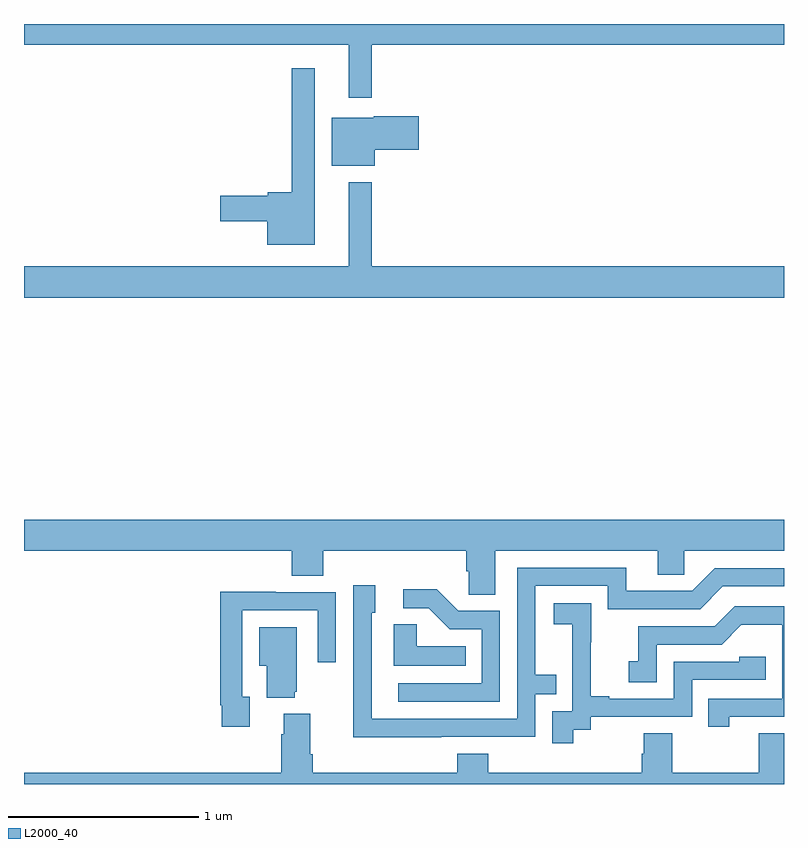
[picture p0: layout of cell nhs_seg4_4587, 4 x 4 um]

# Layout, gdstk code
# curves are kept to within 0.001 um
import gdstk
lib = gdstk.Library(unit=1e-6, precision=1e-09)
def P(c, l, *ps):  # polygons
    for p in ps: c.add(gdstk.Polygon(p, *l))
L2000_40 = (2000, 40)

nhs_seg4_4587 = lib.new_cell('nhs_seg4_4587')
P(nhs_seg4_4587, L2000_40, [(357,824.792),(358.709,824.792),(358.709,824.511),(358.831,824.511),(358.831,824.792),(361,824.792),(361,824.9),(357,824.9)],
  [(358.531,824.668),(358.41,824.668),(358.41,824.015),(358.284,824.015),(358.284,823.997),(358.032,823.997),(358.032,823.862),(358.28,823.862),(358.28,823.739),(358.531,823.739)],
  [(358.846,824.237),(359.077,824.237),(359.077,824.415),(358.842,824.415),(358.842,824.407),(358.619,824.407),(358.619,824.153),(358.846,824.153)],
  [(361,823.624),(358.831,823.624),(358.831,824.068),(358.709,824.068),(358.709,823.624),(357,823.624),(357,823.46),(361,823.46)],
  [(359.479,822.128),(360.335,822.128),(360.335,822.001),(360.474,822.001),(360.474,822.128),(361,822.128),(361,822.292),(357,822.292),(357,822.128),(358.409,822.128),(358.409,821.995),(358.574,821.995),(358.574,822.128),(359.327,822.128),(359.327,822.019),(359.34,822.019),(359.34,821.896),(359.479,821.896)],
  [(359.195,821.148),(359.691,821.148),(359.691,821.373),(359.801,821.373),(359.801,821.474),(359.691,821.474),(359.691,821.943),(360.072,821.943),(360.072,821.82),(360.558,821.82),(360.678,821.94),(361,821.94),(361,822.036),(360.636,822.036),(360.516,821.916),(360.169,821.916),(360.169,822.039),(359.595,822.039),(359.595,821.244),(358.83,821.244),(358.83,821.802),(358.849,821.802),(358.849,821.947),(358.734,821.947),(358.734,821.453),(358.732,821.453),(358.732,821.147)],
  [(359.505,821.811),(359.286,821.811),(359.173,821.924),(358.995,821.924),(358.995,821.826),(359.129,821.826),(359.24,821.715),(359.409,821.715),(359.409,821.43),(358.971,821.43),(358.971,821.334),(359.505,821.334)],
  [(358.189,821.358),(358.149,821.358),(358.149,821.814),(358.545,821.814),(358.545,821.541),(358.641,821.541),(358.641,821.91),(358.325,821.91),(358.325,821.912),(358.033,821.912),(358.033,821.314),(358.041,821.314),(358.041,821.202),(358.189,821.202)],
  [(359.89,821.185),(359.982,821.185),(359.982,821.253),(360.516,821.253),(360.516,821.448),(360.905,821.448),(360.905,821.571),(360.765,821.571),(360.765,821.544),(360.42,821.544),(360.42,821.349),(360.079,821.349),(360.079,821.362),(359.984,821.362),(359.984,821.645),(359.985,821.645),(359.985,821.851),(359.787,821.851),(359.787,821.741),(359.885,821.741),(359.885,821.513),(359.886,821.513),(359.886,821.283),(359.781,821.283),(359.781,821.115),(359.89,821.115)],
  [(360.712,821.253),(361,821.253),(361,821.835),(360.74,821.835),(360.635,821.73),(360.232,821.73),(360.232,821.545),(360.183,821.545),(360.183,821.436),(360.33,821.436),(360.33,821.634),(360.672,821.634),(360.776,821.738),(360.99,821.738),(360.99,821.349),(360.601,821.349),(360.601,821.202),(360.712,821.202)],
  [(359.324,821.626),(359.067,821.626),(359.067,821.741),(358.946,821.741),(358.946,821.522),(359.324,821.522)],
  [(358.424,821.385),(358.435,821.385),(358.435,821.725),(358.238,821.725),(358.238,821.522),(358.277,821.522),(358.277,821.354),(358.424,821.354)],
  [(361,821.168),(360.868,821.168),(360.868,820.96),(360.411,820.96),(360.411,821.168),(360.263,821.168),(360.263,821.058),(360.251,821.058),(360.251,820.96),(359.444,820.96),(359.444,821.059),(359.279,821.059),(359.279,820.96),(358.52,820.96),(358.52,821.056),(358.507,821.056),(358.507,821.269),(358.367,821.269),(358.367,821.162),(358.355,821.162),(358.355,820.96),(357,820.96),(357,820.9),(361,820.9)])

lib.write_gds('nhs_seg4_4587.gds')
